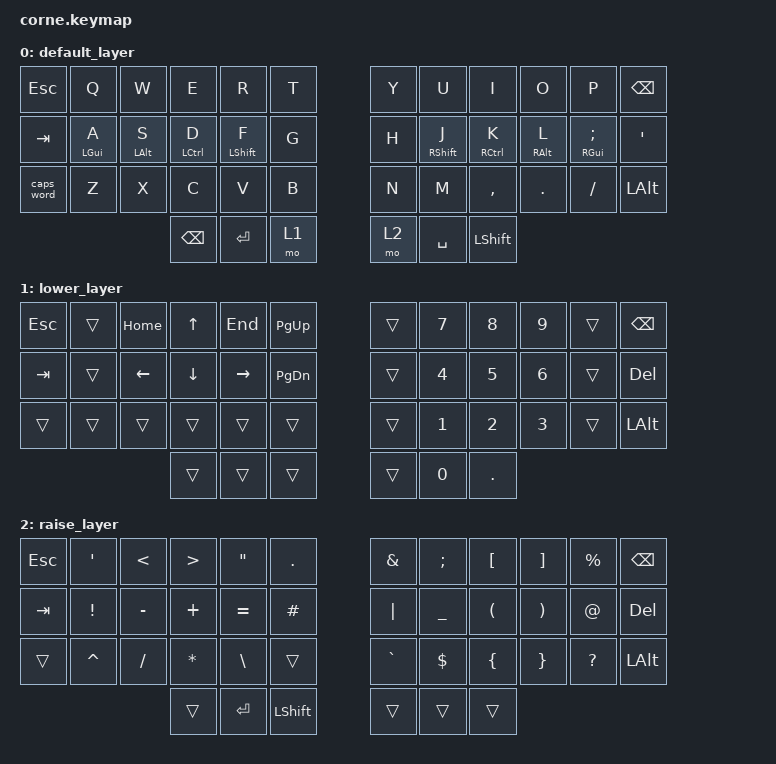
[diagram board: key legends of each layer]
/*
 * Copyright (c) 2020 The ZMK Contributors
 *
 * SPDX-License-Identifier: MIT
 */

#include <behaviors.dtsi>
#include <dt-bindings/zmk/keys.h>
#include <dt-bindings/zmk/bt.h>

nice_view_spi: &spi0 {
        cs-gpios = <&pro_micro 4 GPIO_ACTIVE_HIGH>;
};

/ {
        kscan0: kscan {
        compatible = "zmk,kscan-gpio-matrix";
        diode-direction = "col2row";
        col-gpios
                = <&pro_micro 21 GPIO_ACTIVE_HIGH>
                , <&pro_micro 20 GPIO_ACTIVE_HIGH>
                , <&pro_micro 19 GPIO_ACTIVE_HIGH>
                , <&pro_micro 18 GPIO_ACTIVE_HIGH>
                , <&pro_micro 15 GPIO_ACTIVE_HIGH>
                , <&pro_micro 14 GPIO_ACTIVE_HIGH>
                ;
        row-gpios
                = <&pro_micro 5 (GPIO_ACTIVE_HIGH | GPIO_PULL_DOWN)>
                , <&pro_micro 6 (GPIO_ACTIVE_HIGH | GPIO_PULL_DOWN)>
                , <&pro_micro 7 (GPIO_ACTIVE_HIGH | GPIO_PULL_DOWN)>
                , <&pro_micro 8 (GPIO_ACTIVE_HIGH | GPIO_PULL_DOWN)>
                ;
        };
        
        behaviors {
                lh_pht: left_positional_hold_tap {
                        compatible = "zmk,behavior-hold-tap";
                        #binding-cells = <2>;
                        flavor = "balanced";
                        tapping-term-ms = <150>;                        // <---[[produces tap if held longer than tapping-term-ms]]
                        quick-tap-ms = <200>;
                        bindings = <&kp>, <&kp>;
                        //hold-trigger-key-positions = <6 7 8 9 10 11>;    // <---[[right-hand keys]]
                };
                rh_pht: right_positional_hold_tap {
                        compatible = "zmk,behavior-hold-tap";
                        #binding-cells = <2>;
                        flavor = "balanced";
                        tapping-term-ms = <150>;                        // <---[[produces tap if held longer than tapping-term-ms]]
                        quick-tap-ms = <200>;
                        bindings = <&kp>, <&kp>;
                        //hold-trigger-key-positions = <0 1 2 3 4 5>;    // <---[[left-hand keys]]
                };
        };

        keymap {
                compatible = "zmk,keymap";

                default_layer {
// -----------------------------------------------------------------------------------------`
// | ESC  |  Q  |  W  |  E  |  R  |  T  |____|  Y  |  U   |  I  |  O  |  P  | BSPC |
// | TAB  |  A  |  S  |  D  |  F  |  G  |____|  H  |  J   |  K  |  L  |  ;  |  '   |
// | GUI  |  Z  |  X  |  C  |  V  |  B  |____|  N  |  M   |  ,  |  .  |  /  | ALT  |
//                    | CTRL| RET | LOW |____| RSE | SPC  | SHFT|
                        bindings = <
   &kp ESC    &kp Q          &kp W          &kp E           &kp R           &kp T   &kp Y &kp U           &kp I           &kp O          &kp P             &kp BSPC
   &kp TAB    &lh_pht LGUI A &lh_pht LALT S &lh_pht LCTRL D &lh_pht LSHFT F &kp G   &kp H &rh_pht RSHFT J &rh_pht RCTRL K &rh_pht RALT L &rh_pht RGUI SEMI &kp SQT
   &caps_word &kp Z          &kp X          &kp C           &kp V           &kp B   &kp N &kp M           &kp COMMA       &kp DOT        &kp FSLH          &kp LALT
                                          &kp BSPC        &kp RET         &mo 1   &mo 2 &kp SPACE       &kp LSHFT
                        >;
                };
                lower_layer {
// -----------------------------------------------------------------------------------------
// | ESC  |     | HOME |  UP | END | PGUP |____|     |  7  |  8  |  9  |     | BSPC |
// | TAB  |     | LFT  | DOW | RIG | PGDN |____|     |  4  |  5  |  6  |     |  DEL |
// | GUI  |     |      |     |     |      |____|     |  1  |  2  |  3  |     |  ALT |
//                     |     |     |      |____|     |  0  |  .  |
                        bindings = <
   &kp ESC   &trans &kp HOME &kp UP   &kp END   &kp PG_UP   &trans   &kp N7   &kp N8   &kp N9   &trans  &kp BSPC
   &kp TAB   &trans &kp LEFT &kp DOWN &kp RIGHT &kp PG_DN   &trans   &kp N4   &kp N5   &kp N6   &trans  &kp DEL
   &trans    &trans &trans   &trans   &trans    &trans      &trans   &kp N1   &kp N2   &kp N3   &trans  &kp LALT
                             &trans   &trans    &trans      &trans   &kp N0   &kp DOT
                        >;
                };

                raise_layer {
// -----------------------------------------------------------------------------------------
// |  ESC |  '  |  <  |  >  |  "  |  .   |____|  &   |  :  |  [  |  ]  |  %  | BSPC |
// | TAB  |  !  |  -  |  +  |  =  |  #   |____|  |   |  _  |  (  |  )  |  @  |  DEL |
// | GUI  |  ^  |  /  |  *  |  \  |      |____|  `~  |  $  |  {  |  }  |  ?  |  ALT |
//                    |     | ENT | SHFT |____|      |     |     |
                        bindings = <
   &kp ESC   &kp SQT   &kp LT    &kp GT   &kp DQT   &kp DOT     &kp AMPS  &kp SEMI &kp LBKT  &kp RBKT &kp PRCNT &kp BSPC
   &kp TAB   &kp EXCL  &kp MINUS &kp PLUS &kp EQUAL &kp HASH    &kp PIPE  &kp UNDER &kp LPAR  &kp RPAR &kp AT    &kp DEL 
   &trans    &kp CARET &kp FSLH  &kp STAR &kp BSLH  &trans      &kp GRAVE &kp DLLR  &kp LBRC  &kp RBRC &kp QMARK &kp LALT
                                 &trans   &kp RET   &kp LSHFT   &trans    &trans    &trans
                        >;
                };
        };
};
